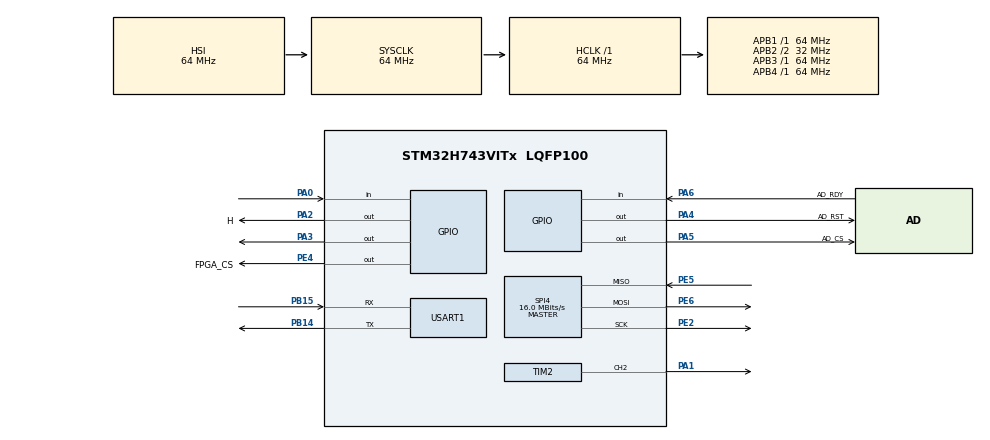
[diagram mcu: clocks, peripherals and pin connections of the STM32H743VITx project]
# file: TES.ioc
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CORTEX_M7.default_mode_Activation=1
Mcu.Family=STM32H7
Mcu.Name=STM32H743VITx
Mcu.Package=LQFP100
NVIC.PriorityGroup=NVIC_PRIORITYGROUP_4
NVIC.SPI4_IRQn=true\:0\:0\:false\:false\:true\:true\:true\:true
NVIC.USART1_IRQn=true\:0\:0\:false\:false\:true\:true\:true\:true
PA0.Signal=GPIO_Input
PA1.Signal=S_TIM2_CH2
PA2.GPIO_Label=H
PA2.GPIO_ModeDefaultOutputPP=GPIO_MODE_OUTPUT_PP
PA2.GPIO_PuPd=GPIO_NOPULL
PA2.PinState=GPIO_PIN_SET
PA2.Signal=GPIO_Output
PA3.Signal=GPIO_Output
PA4.GPIO_Label=AD_RST
PA4.Signal=GPIO_Output
PA5.GPIO_Label=AD_CS
PA5.Signal=GPIO_Output
PA6.GPIO_Label=AD_RDY
PA6.Signal=GPIO_Input
PB14.Mode=Asynchronous
PB14.Signal=USART1_TX
PB15.Mode=Asynchronous
PB15.Signal=USART1_RX
PC14-OSC32_IN\ (OSC32_IN).Mode=LSE-External-Oscillator
PC14-OSC32_IN\ (OSC32_IN).Signal=RCC_OSC32_IN
PC15-OSC32_OUT\ (OSC32_OUT).Mode=LSE-External-Oscillator
PC15-OSC32_OUT\ (OSC32_OUT).Signal=RCC_OSC32_OUT
PE2.Mode=Full_Duplex_Master
PE2.Signal=SPI4_SCK
PE4.GPIO_Label=FPGA_CS
PE4.Signal=GPIO_Output
PE5.Mode=Full_Duplex_Master
PE5.Signal=SPI4_MISO
PE6.Mode=Full_Duplex_Master
PE6.Signal=SPI4_MOSI
PH0-OSC_IN\ (PH0).Mode=HSE-External-Oscillator
PH0-OSC_IN\ (PH0).Signal=RCC_OSC_IN
PH1-OSC_OUT\ (PH1).Mode=HSE-External-Oscillator
PH1-OSC_OUT\ (PH1).Signal=RCC_OSC_OUT
ProjectManager.HeapSize=0x200
ProjectManager.StackSize=0x400
ProjectManager.TargetToolchain=MDK-ARM V5.32
RCC.ADCFreq_Value=129000000
RCC.APB1Freq_Value=64000000
RCC.APB2Freq_Value=32000000
RCC.APB3Freq_Value=64000000
RCC.APB4Freq_Value=64000000
RCC.CortexFreq_Value=64000000
RCC.D2PPRE2=RCC_APB2_DIV2
RCC.DIVM1=4
RCC.DIVN1=10
RCC.HCLKFreq_Value=64000000
RCC.PLLFRACN=0
RCC.SYSCLKFreq_VALUE=64000000
RCC.USBFreq_Value=80000000
SH.S_TIM2_CH2.0=TIM2_CH2,PWM Generation2 CH2
SPI4.CLKPhase=SPI_PHASE_2EDGE
SPI4.CLKPolarity=SPI_POLARITY_HIGH
SPI4.CalculateBaudRate=16.0 MBits/s
SPI4.DataSize=SPI_DATASIZE_8BIT
SPI4.Direction=SPI_DIRECTION_2LINES
SPI4.Mode=SPI_MODE_MASTER
SPI4.VirtualType=VM_MASTER
TIM2.Channel-PWM\ Generation2\ CH2=TIM_CHANNEL_2
TIM2.Period=999
TIM2.Prescaler=639
USART1.VirtualMode-Asynchronous=VM_ASYNC
VP_MEMORYMAP_VS_MEMORYMAP.Mode=CurAppReg
board=custom

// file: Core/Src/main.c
/* USER CODE BEGIN Header */
/**
  ******************************************************************************
  * @file           : main.c
  * @brief          : Main program body
  ******************************************************************************
  * @attention
  *
  * Copyright (c) 2025 STMicroelectronics.
  * All rights reserved.
  *
  * This software is licensed under terms that can be found in the LICENSE file
  * in the root directory of this software component.
  * If no LICENSE file comes with this software, it is provided AS-IS.
  *
  ******************************************************************************
  */
/* USER CODE END Header */
#include "main.h"
#include "memorymap.h"
#include "spi.h"
#include "tim.h"
#include "usart.h"
#include "gpio.h"

/* USER CODE BEGIN Includes */
#include <stdio.h>
//
#include "MyUsart.h"
#include "FPGA_commute.h"
/* USER CODE END Includes */

void SystemClock_Config(void);
static void MPU_Config(void);

/* USER CODE BEGIN 0 */
#define KEY0 (HAL_GPIO_ReadPin(GPIOA, GPIO_PIN_0))

uint8_t TD[5] = {0x11, 0x22, 0x33, 0x44, 0x55};
uint32_t AD_val, AD_val_f;
uint8_t SPI_TD[10] = {0x01, 0x02, 0x03, 0x04, 0x05, 0x06, 0x07, 0x08};
uint8_t SPI_RD[10];
uint32_t uwTick_pre = 1000000;
/* USER CODE END 0 */

int main(void)
{

  /* MPU Configuration--------------------------------------------------------*/
  MPU_Config();

  /* MCU Configuration--------------------------------------------------------*/

  /* Reset of all peripherals, Initializes the Flash interface and the Systick. */
  HAL_Init();

  /* Configure the system clock */
  SystemClock_Config();

  /* Initialize all configured peripherals */
  MX_GPIO_Init();
  MX_USART1_UART_Init();
  MX_TIM2_Init();
  MX_SPI4_Init();
  /* USER CODE BEGIN 2 */
	HAL_UART_Receive_IT(&huart1, &rx_buff[cnt_rx], 1);
	for (uint8_t i = 0;i < 2;i ++){
		Serial_TJC_SendTxt(1, "It's My Go!!!!!");
		//Serial_TJC_SendTxt(2, "size:%d", sizeof(rx_buff));
	}
	HAL_TIM_PWM_Start(&htim2, TIM_CHANNEL_2);

	for (uint8_t i = 0;i < 8;i ++){
		//SPI_RD[i] = FPGA_SPI_SwapByte(SPI_TD[i]);
	}
	for (uint8_t i = 0;i < 2;i ++)

	//FPGA_EnableSPWM(0, 1);
	//FPGA_ConfigSPWM(0, 1, 500, 50);
	//FPGA_EnableSPWM(1, 1);
	//FPGA_ConfigSPWM(1, 2, 1000, 50);

  /* USER CODE END 2 */

  /* Infinite loop */
	while (1)
	{

    /* USER CODE BEGIN 3 */
		#define TIME_STEP 500
		#define TIME_STEP_2 4000
		if ((uwTick_pre / TIME_STEP) % 8 != (uwTick / TIME_STEP) % 8){
			SPI_RD[(uwTick / TIME_STEP) % 8] = FPGA_SPI_SwapByte(SPI_TD[(uwTick / TIME_STEP) % 8]);
			uwTick_pre = uwTick;
		}
		if ((uwTick_pre / TIME_STEP_2) % 8 != (uwTick / TIME_STEP_2) % 8){
			FPGA_ReadData(SPI_RD, 8);
			uwTick_pre = uwTick;
		}

		Serial_TJC_SendTxt(8, "%02x %02x %02x %02x %02x %02x %02x %02x",
								SPI_RD[0], SPI_RD[1], SPI_RD[2], SPI_RD[3],
								SPI_RD[4], SPI_RD[5], SPI_RD[6], SPI_RD[7]);
		Serial_TJC_SendTxt(12, "Minute:%02d  Sencond:%02d.%03d",
							uwTick / 60000, uwTick % 60000 / 1000, uwTick % 1000);
		//MyUart_task();
		//HAL_Delay(100);

	}
  /* USER CODE END 3 */
}

void SystemClock_Config(void)
{
  RCC_OscInitTypeDef RCC_OscInitStruct = {0};
  RCC_ClkInitTypeDef RCC_ClkInitStruct = {0};

  /** Supply configuration update enable
  */
  HAL_PWREx_ConfigSupply(PWR_LDO_SUPPLY);

  /** Configure the main internal regulator output voltage
  */
  __HAL_PWR_VOLTAGESCALING_CONFIG(PWR_REGULATOR_VOLTAGE_SCALE3);

  while(!__HAL_PWR_GET_FLAG(PWR_FLAG_VOSRDY)) {}

  /** Initializes the RCC Oscillators according to the specified parameters
  * in the RCC_OscInitTypeDef structure.
  */
  RCC_OscInitStruct.OscillatorType = RCC_OSCILLATORTYPE_HSI;
  RCC_OscInitStruct.HSIState = RCC_HSI_DIV1;
  RCC_OscInitStruct.HSICalibrationValue = RCC_HSICALIBRATION_DEFAULT;
  RCC_OscInitStruct.PLL.PLLState = RCC_PLL_NONE;
  if (HAL_RCC_OscConfig(&RCC_OscInitStruct) != HAL_OK)
  {
    Error_Handler();
  }

  /** Initializes the CPU, AHB and APB buses clocks
  */
  RCC_ClkInitStruct.ClockType = RCC_CLOCKTYPE_HCLK|RCC_CLOCKTYPE_SYSCLK
                              |RCC_CLOCKTYPE_PCLK1|RCC_CLOCKTYPE_PCLK2
                              |RCC_CLOCKTYPE_D3PCLK1|RCC_CLOCKTYPE_D1PCLK1;
  RCC_ClkInitStruct.SYSCLKSource = RCC_SYSCLKSOURCE_HSI;
  RCC_ClkInitStruct.SYSCLKDivider = RCC_SYSCLK_DIV1;
  RCC_ClkInitStruct.AHBCLKDivider = RCC_HCLK_DIV1;
  RCC_ClkInitStruct.APB3CLKDivider = RCC_APB3_DIV1;
  RCC_ClkInitStruct.APB1CLKDivider = RCC_APB1_DIV1;
  RCC_ClkInitStruct.APB2CLKDivider = RCC_APB2_DIV2;
  RCC_ClkInitStruct.APB4CLKDivider = RCC_APB4_DIV1;

  if (HAL_RCC_ClockConfig(&RCC_ClkInitStruct, FLASH_LATENCY_1) != HAL_OK)
  {
    Error_Handler();
  }
}

 /* MPU Configuration */

void MPU_Config(void)
{
  MPU_Region_InitTypeDef MPU_InitStruct = {0};

  /* Disables the MPU */
  HAL_MPU_Disable();

  /** Initializes and configures the Region and the memory to be protected
  */
  MPU_InitStruct.Enable = MPU_REGION_ENABLE;
  MPU_InitStruct.Number = MPU_REGION_NUMBER0;
  MPU_InitStruct.BaseAddress = 0x0;
  MPU_InitStruct.Size = MPU_REGION_SIZE_4GB;
  MPU_InitStruct.SubRegionDisable = 0x87;
  MPU_InitStruct.TypeExtField = MPU_TEX_LEVEL0;
  MPU_InitStruct.AccessPermission = MPU_REGION_NO_ACCESS;
  MPU_InitStruct.DisableExec = MPU_INSTRUCTION_ACCESS_DISABLE;
  MPU_InitStruct.IsShareable = MPU_ACCESS_SHAREABLE;
  MPU_InitStruct.IsCacheable = MPU_ACCESS_NOT_CACHEABLE;
  MPU_InitStruct.IsBufferable = MPU_ACCESS_NOT_BUFFERABLE;

  HAL_MPU_ConfigRegion(&MPU_InitStruct);
  /* Enables the MPU */
  HAL_MPU_Enable(MPU_PRIVILEGED_DEFAULT);

}

void Error_Handler(void)
{
  __disable_irq();
  while (1)
  {
  }
}
